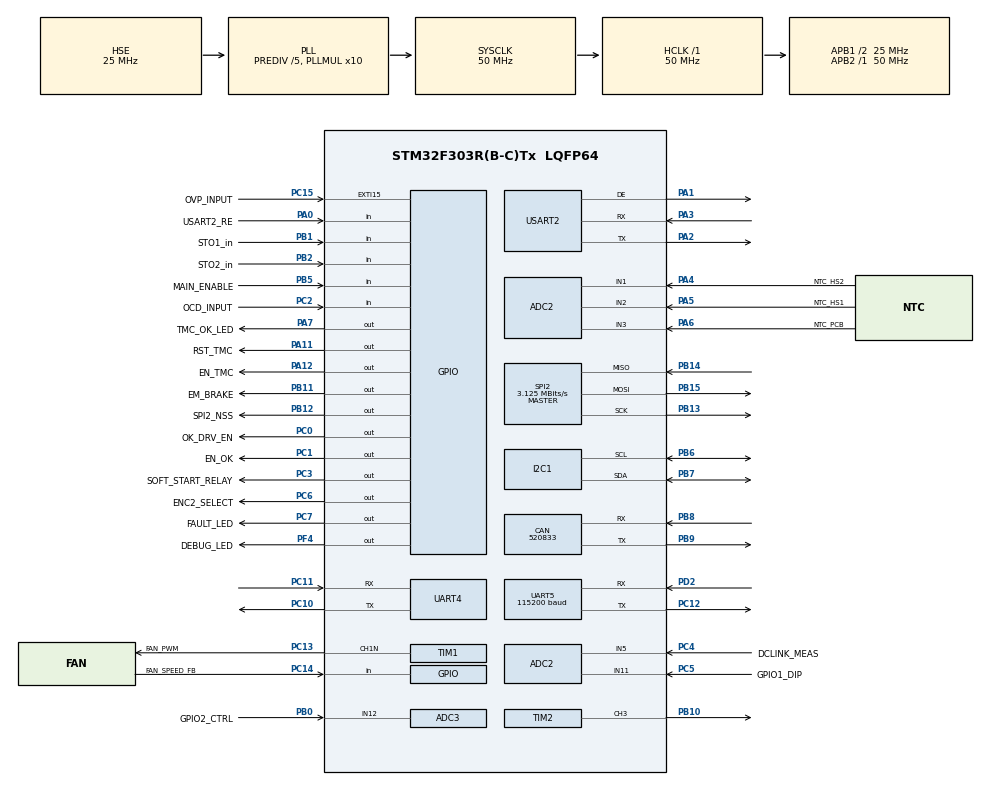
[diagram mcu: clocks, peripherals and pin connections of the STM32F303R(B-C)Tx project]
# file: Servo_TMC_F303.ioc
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ADC1.Channel-0\#ChannelRegularConversion=ADC_CHANNEL_TEMPSENSOR
ADC1.NbrOfConversionFlag=1
ADC1.Offset-0\#ChannelRegularConversion=0
ADC1.OffsetNumber-0\#ChannelRegularConversion=ADC_OFFSET_NONE
ADC1.Rank-0\#ChannelRegularConversion=1
ADC1.SamplingTime-0\#ChannelRegularConversion=ADC_SAMPLETIME_1CYCLE_5
ADC1.master=1
ADC2.Channel-2\#ChannelRegularConversion=ADC_CHANNEL_1
ADC2.ClockPrescaler=ADC_CLOCK_ASYNC_DIV1
ADC2.ContinuousConvMode=DISABLE
ADC2.DataAlign=ADC_DATAALIGN_RIGHT
ADC2.EnableInjectedConversion=DISABLE
ADC2.EnableRegularConversion=ENABLE
ADC2.NbrOfConversion=1
ADC2.NbrOfConversionFlag=1
ADC2.Offset-2\#ChannelRegularConversion=0
ADC2.OffsetNumber-2\#ChannelRegularConversion=ADC_OFFSET_NONE
ADC2.Overrun=ADC_OVR_DATA_OVERWRITTEN
ADC2.Rank-2\#ChannelRegularConversion=1
ADC2.SamplingTime-2\#ChannelRegularConversion=ADC_SAMPLETIME_19CYCLES_5
ADC2.SamplingTimeOPAMP-2\#ChannelRegularConversion=ADC_SAMPLETIME_61CYCLES_5
ADC2.SequencerNbRanks=1
ADC3.Channel-0\#ChannelRegularConversion=ADC_CHANNEL_12
ADC3.NbrOfConversionFlag=1
ADC3.Offset-0\#ChannelRegularConversion=0
ADC3.OffsetNumber-0\#ChannelRegularConversion=ADC_OFFSET_NONE
ADC3.Rank-0\#ChannelRegularConversion=1
ADC3.SamplingTime-0\#ChannelRegularConversion=ADC_SAMPLETIME_1CYCLE_5
ADC3.SamplingTimeOPAMP-0\#ChannelRegularConversion=ADC_SAMPLETIME_61CYCLES_5
ADC3.master=1
CAN.BS1=CAN_BS1_1TQ
CAN.BS2=CAN_BS2_1TQ
CAN.CalculateBaudRate=520833
CAN.CalculateTimeBit=1920
CAN.CalculateTimeQuantum=640.0
Mcu.Family=STM32F3
Mcu.Name=STM32F303R(B-C)Tx
Mcu.Package=LQFP64
NVIC.PriorityGroup=NVIC_PRIORITYGROUP_4
NVIC.TIM1_CC_IRQn=true\:0\:0\:false\:false\:true\:true\:true\:true
NVIC.UART5_IRQn=true\:0\:0\:false\:false\:true\:true\:true\:true
PA0.GPIO_Label=USART2_RE
PA0.Signal=GPIO_Input
PA1.Mode=Hardware Flow Control (RS485)
PA1.Signal=USART2_DE
PA11.GPIO_Label=RST_TMC
PA11.Signal=GPIO_Output
PA12.GPIO_Label=EN_TMC
PA12.Signal=GPIO_Output
PA13.Mode=Serial_Wire
PA13.Signal=SYS_JTMS-SWDIO
PA14.Mode=Serial_Wire
PA14.Signal=SYS_JTCK-SWCLK
PA2.Mode=Asynchronous
PA2.Signal=USART2_TX
PA3.Mode=Asynchronous
PA3.Signal=USART2_RX
PA4.GPIO_Label=NTC_HS2
PA4.Mode=IN1-Single-Ended
PA4.Signal=ADC2_IN1
PA5.GPIO_Label=NTC_HS1
PA5.Mode=IN2-Single-Ended
PA5.Signal=ADC2_IN2
PA6.GPIO_Label=NTC_PCB
PA6.Mode=IN3-Single-Ended
PA6.Signal=ADC2_IN3
PA7.GPIO_Label=TMC_OK_LED
PA7.Signal=GPIO_Output
PB0.GPIO_Label=GPIO2_CTRL
PB0.Mode=IN12-Single-Ended
PB0.Signal=ADC3_IN12
PB1.GPIO_Label=STO1_in
PB1.Signal=GPIO_Input
PB10.Signal=S_TIM2_CH3
PB11.GPIO_Label=EM_BRAKE
PB11.Signal=GPIO_Output
PB12.GPIO_Label=SPI2_NSS
PB12.GPIO_PuPd=GPIO_PULLUP
PB12.GPIO_Speed=GPIO_SPEED_FREQ_HIGH
PB12.PinState=GPIO_PIN_SET
PB12.Signal=GPIO_Output
PB13.Mode=Full_Duplex_Master
PB13.Signal=SPI2_SCK
PB14.Mode=Full_Duplex_Master
PB14.Signal=SPI2_MISO
PB15.Mode=Full_Duplex_Master
PB15.Signal=SPI2_MOSI
PB2.GPIO_Label=STO2_in
PB2.Signal=GPIO_Input
PB5.GPIO_Label=MAIN_ENABLE
PB5.Signal=GPIO_Input
PB6.Mode=I2C
PB6.Signal=I2C1_SCL
PB7.Mode=I2C
PB7.Signal=I2C1_SDA
PB8.Mode=CAN_Activate
PB8.Signal=CAN_RX
PB9.Mode=CAN_Activate
PB9.Signal=CAN_TX
PC0.GPIO_Label=OK_DRV_EN
PC0.GPIO_ModeDefaultOutputPP=GPIO_MODE_OUTPUT_OD
PC0.GPIO_PuPd=GPIO_NOPULL
PC0.PinState=GPIO_PIN_SET
PC0.Signal=GPIO_Output
PC1.GPIO_Label=EN_OK
PC1.Signal=GPIO_Output
PC10.Mode=Asynchronous
PC10.Signal=UART4_TX
PC11.Mode=Asynchronous
PC11.Signal=UART4_RX
PC12.Mode=Asynchronous
PC12.Signal=UART5_TX
PC13.GPIO_Label=FAN_PWM
PC13.Mode=PWM Generation1 CH1N
PC13.Signal=TIM1_CH1N
PC14-OSC32_IN.GPIO_Label=FAN_SPEED_FB
PC14-OSC32_IN.Signal=GPIO_Input
PC15-OSC32_OUT.GPIO_Label=OVP_INPUT
PC15-OSC32_OUT.Signal=GPXTI15
PC2.GPIO_Label=OCD_INPUT
PC2.Signal=GPIO_Input
PC3.GPIO_Label=SOFT_START_RELAY
PC3.GPIO_ModeDefaultOutputPP=GPIO_MODE_OUTPUT_OD
PC3.GPIO_PuPd=GPIO_PULLUP
PC3.PinState=GPIO_PIN_SET
PC3.Signal=GPIO_Output
PC4.GPIO_Label=DCLINK_MEAS
PC4.Mode=IN5-Single-Ended
PC4.Signal=ADC2_IN5
PC5.GPIO_Label=GPIO1_DIP
PC5.Mode=IN11-Single-Ended
PC5.Signal=ADC2_IN11
PC6.GPIO_Label=ENC2_SELECT
PC6.Signal=GPIO_Output
PC7.GPIO_Label=FAULT_LED
PC7.Signal=GPIO_Output
PD2.Mode=Asynchronous
PD2.Signal=UART5_RX
PF0-OSC_IN.Mode=HSE-External-Clock-Source
PF0-OSC_IN.Signal=RCC_OSC_IN
PF4.GPIO_Label=DEBUG_LED
PF4.Signal=GPIO_Output
ProjectManager.HeapSize=0x200
ProjectManager.StackSize=0x400
ProjectManager.TargetToolchain=STM32CubeIDE
RCC.AHBFreq_Value=50000000
RCC.APB1CLKDivider=RCC_HCLK_DIV2
RCC.APB1Freq_Value=25000000
RCC.APB1TimFreq_Value=50000000
RCC.APB2Freq_Value=50000000
RCC.APB2TimFreq_Value=50000000
RCC.CortexFreq_Value=50000000
RCC.HCLKFreq_Value=50000000
RCC.HSE_VALUE=25000000
RCC.HSI_VALUE=8000000
RCC.LSE_VALUE=32768
RCC.PLLMUL=RCC_PLL_MUL10
RCC.PLLSourceVirtual=RCC_PLLSOURCE_HSE
RCC.RCC_PLLsource_Clock_Source_FROM_HSE=RCC_HSE_PREDIV_DIV5
RCC.SYSCLKFreq_VALUE=50000000
RCC.SYSCLKSourceVirtual=RCC_SYSCLKSOURCE_PLLCLK
RCC.USBFreq_Value=50000000
SH.S_TIM2_CH3.0=TIM2_CH3,PWM Generation3 CH3
SPI2.BaudRatePrescaler=SPI_BAUDRATEPRESCALER_8
SPI2.CLKPhase=SPI_PHASE_2EDGE
SPI2.CLKPolarity=SPI_POLARITY_HIGH
SPI2.CalculateBaudRate=3.125 MBits/s
SPI2.DataSize=SPI_DATASIZE_8BIT
SPI2.Direction=SPI_DIRECTION_2LINES
SPI2.Mode=SPI_MODE_MASTER
SPI2.VirtualType=VM_MASTER
TIM1.Channel-PWM\ Generation1\ CH1N=TIM_CHANNEL_1
TIM1.Period=1000-1
TIM1.Prescaler=50-1
TIM2.Channel-PWM\ Generation3\ CH3=TIM_CHANNEL_3
TIM2.Period=1000-1
TIM2.Prescaler=50-1
UART5.BaudRate=115200
USART2.VirtualMode-Asynchronous=VM_ASYNC
USART2.VirtualMode-Hardware\ Flow\ Control\ (RS485)=VM_ASYNC
VP_ADC1_TempSens_Input.Mode=IN-TempSens
VP_ADC1_Vref_Input.Mode=IN-Vrefint
board=custom

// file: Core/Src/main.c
/* USER CODE BEGIN Header */
/**
 ******************************************************************************
 * @file           : main.c
 * @brief          : Main program body
 ******************************************************************************
 * @attention
 *
 * Copyright (c) 2022 STMicroelectronics.
 * All rights reserved.
 *
 * This software is licensed under terms that can be found in the LICENSE file
 * in the root directory of this software component.
 * If no LICENSE file comes with this software, it is provided AS-IS.
 *
 ******************************************************************************
 */
/* USER CODE END Header */
#include "main.h"
#include "adc.h"
#include "can.h"
#include "i2c.h"
#include "spi.h"
#include "tim.h"
#include "usart.h"
#include "gpio.h"
#include "NTC_sensors.h"

/* USER CODE BEGIN Includes */
#include "tmc/ic/TMC4671/TMC4671.h"
#include "modbus/mb.h"
/* USER CODE END Includes */

/* USER CODE BEGIN PV */
uint32_t Raw_ADC_temp[5] = {0};
uint32_t HS1temp_raw = 0;
int32_t HS1temp = 0;

/* USER CODE END PV */

void SystemClock_Config(void);
/* USER CODE BEGIN PFP */
void StartupConfig(void);
void ABN_encoder_test_drive(uint32_t);
void Exp_speed_ramp(void);
void openloop_test_drive(uint32_t);
/* USER CODE END PFP */

int main(void)
{

  /* MCU Configuration--------------------------------------------------------*/

  /* Reset of all peripherals, Initializes the Flash interface and the Systick. */
  HAL_Init();

  /* Configure the system clock */
  SystemClock_Config();

  /* Initialize all configured peripherals */
  MX_GPIO_Init();
  MX_CAN_Init();
  MX_UART4_Init();
  MX_UART5_Init();
  MX_I2C1_Init();
  MX_SPI2_Init();
  MX_USART2_UART_Init();
  MX_ADC2_Init();
  MX_TIM1_Init();
  MX_ADC3_Init();
  MX_TIM2_Init();
  MX_ADC1_Init();
  /* USER CODE BEGIN 2 */

	const uint32_t chTab[5] = { ADC_CHANNEL_1, ADC_CHANNEL_2, ADC_CHANNEL_3, ADC_CHANNEL_5, ADC_CHANNEL_11 };
	ADC_ChannelConfTypeDef sConfig = { 0 };
	sConfig.Rank = ADC_REGULAR_RANK_1;
	sConfig.SingleDiff = ADC_SINGLE_ENDED;

	HAL_ADCEx_Calibration_Start(&hadc2, ADC_SINGLE_ENDED);
	HAL_ADCEx_Calibration_Start(&hadc3, ADC_SINGLE_ENDED);

	ModBus_Init();
	StartupConfig();
	//openloop_test_drive(4800);
	//HAL_Delay(1000);
	//ABN_encoder_test_drive(4800);

  /* USER CODE END 2 */

  /* Infinite loop */
  /* USER CODE BEGIN WHILE */

	uint32_t timeFor1000msTask = 0;
	uint32_t timeFor100msTask = 0;
	uint32_t timeFor10msTask = HAL_GetTick();

	while (1) {

		// task 10ms
		if (HAL_GetTick() - timeFor10msTask >= 10) {
			timeFor10msTask = HAL_GetTick();
			timeFor100msTask+=1;
		}

		// task 100ms
		if (timeFor100msTask >= 10) {
			timeFor100msTask=0;
			timeFor1000msTask+=1;
			HAL_GPIO_TogglePin(DEBUG_LED_GPIO_Port, DEBUG_LED_Pin);

		}
		// task 1000ms
		if (timeFor1000msTask >= 10) {
			timeFor1000msTask = 0;

			for (uint32 i = 0; i < 5; i++) {
				// assign channel number here
				sConfig.Channel = chTab[i];
				// later use array to have different sample time for each channel
				sConfig.SamplingTime = ADC_SAMPLETIME_19CYCLES_5;
				if (HAL_ADC_ConfigChannel(&hadc2, &sConfig) != HAL_OK) {
					Error_Handler();
				}
				HAL_ADC_Start(&hadc2);
				HAL_ADC_PollForConversion(&hadc2, HAL_MAX_DELAY);
				Raw_ADC_temp[i] = HAL_ADC_GetValue(&hadc2);
				HAL_ADC_Stop(&hadc2);
			}
			HAL_GPIO_TogglePin(FAULT_LED_GPIO_Port, FAULT_LED_Pin);
			HS1temp_raw = Raw_ADC_temp[1];
			if (HS1temp_raw < 596)
			{
				HS1temp_raw = 596;
			}
			HS1temp = NTC_table_TME[(HS1temp_raw - 595)/16];
		}
    /* USER CODE END WHILE */

    /* USER CODE BEGIN 3 */

		ModBus_Perform();

	}
  /* USER CODE END 3 */
}

void SystemClock_Config(void)
{
  RCC_OscInitTypeDef RCC_OscInitStruct = {0};
  RCC_ClkInitTypeDef RCC_ClkInitStruct = {0};
  RCC_PeriphCLKInitTypeDef PeriphClkInit = {0};

  /** Initializes the RCC Oscillators according to the specified parameters
  * in the RCC_OscInitTypeDef structure.
  */
  RCC_OscInitStruct.OscillatorType = RCC_OSCILLATORTYPE_HSI|RCC_OSCILLATORTYPE_HSE;
  RCC_OscInitStruct.HSEState = RCC_HSE_BYPASS;
  RCC_OscInitStruct.HSEPredivValue = RCC_HSE_PREDIV_DIV5;
  RCC_OscInitStruct.HSIState = RCC_HSI_ON;
  RCC_OscInitStruct.HSICalibrationValue = RCC_HSICALIBRATION_DEFAULT;
  RCC_OscInitStruct.PLL.PLLState = RCC_PLL_ON;
  RCC_OscInitStruct.PLL.PLLSource = RCC_PLLSOURCE_HSE;
  RCC_OscInitStruct.PLL.PLLMUL = RCC_PLL_MUL10;
  if (HAL_RCC_OscConfig(&RCC_OscInitStruct) != HAL_OK)
  {
    Error_Handler();
  }

  /** Initializes the CPU, AHB and APB buses clocks
  */
  RCC_ClkInitStruct.ClockType = RCC_CLOCKTYPE_HCLK|RCC_CLOCKTYPE_SYSCLK
                              |RCC_CLOCKTYPE_PCLK1|RCC_CLOCKTYPE_PCLK2;
  RCC_ClkInitStruct.SYSCLKSource = RCC_SYSCLKSOURCE_PLLCLK;
  RCC_ClkInitStruct.AHBCLKDivider = RCC_SYSCLK_DIV1;
  RCC_ClkInitStruct.APB1CLKDivider = RCC_HCLK_DIV2;
  RCC_ClkInitStruct.APB2CLKDivider = RCC_HCLK_DIV1;

  if (HAL_RCC_ClockConfig(&RCC_ClkInitStruct, FLASH_LATENCY_2) != HAL_OK)
  {
    Error_Handler();
  }
  PeriphClkInit.PeriphClockSelection = RCC_PERIPHCLK_USART2|RCC_PERIPHCLK_UART4
                              |RCC_PERIPHCLK_UART5|RCC_PERIPHCLK_I2C1
                              |RCC_PERIPHCLK_TIM1|RCC_PERIPHCLK_ADC12
                              |RCC_PERIPHCLK_ADC34;
  PeriphClkInit.Usart2ClockSelection = RCC_USART2CLKSOURCE_PCLK1;
  PeriphClkInit.Uart4ClockSelection = RCC_UART4CLKSOURCE_PCLK1;
  PeriphClkInit.Uart5ClockSelection = RCC_UART5CLKSOURCE_PCLK1;
  PeriphClkInit.Adc12ClockSelection = RCC_ADC12PLLCLK_DIV1;
  PeriphClkInit.Adc34ClockSelection = RCC_ADC34PLLCLK_DIV1;
  PeriphClkInit.I2c1ClockSelection = RCC_I2C1CLKSOURCE_HSI;
  PeriphClkInit.Tim1ClockSelection = RCC_TIM1CLK_HCLK;
  if (HAL_RCCEx_PeriphCLKConfig(&PeriphClkInit) != HAL_OK)
  {
    Error_Handler();
  }
}

/* USER CODE BEGIN 4 */
void StartupConfig() {

	HAL_GPIO_WritePin(GPIOA, TMC_OK_LED_Pin, GPIO_PIN_SET); 					//LED
	HAL_GPIO_WritePin(GPIOC, FAULT_LED_Pin, GPIO_PIN_SET);  					//LED
	HAL_GPIO_WritePin(DEBUG_LED_GPIO_Port, DEBUG_LED_Pin, GPIO_PIN_SET); 		//LED
	HAL_Delay(2000);
	HAL_GPIO_WritePin(GPIOC, SOFT_START_RELAY_Pin, GPIO_PIN_RESET);				//Short the relay contacts
	HAL_GPIO_WritePin(GPIOA, RST_TMC_Pin, GPIO_PIN_SET);						//Exit  TMC4671 RESET state
	HAL_GPIO_WritePin(GPIOA, EN_TMC_Pin, GPIO_PIN_SET);							//Enable TMC4671
	HAL_GPIO_WritePin(GPIOC, EN_OK_Pin, GPIO_PIN_RESET); 						//low - Gate drivers enabled
	HAL_GPIO_WritePin(GPIOC, OK_DRV_EN_Pin, GPIO_PIN_RESET); 					//low - 74AC541, optocoupler driver enabled

	//================================================================================
	//Prototype motor init and movement START
	//================================================================================

	// Motor type &  PWM configuration
	tmc4671_setMotorType(0, TMC4671_THREE_PHASE_BLDC); //BLDC
	tmc4671_writeInt(0, TMC4671_MOTOR_TYPE_N_POLE_PAIRS, 0x00030004); 		//4 pole pairs
	tmc4671_writeInt(0, TMC4671_PWM_POLARITIES, 0x00000000);				//low and low
	tmc4671_writeInt(0, TMC4671_PWM_MAXCNT, 0x00000F9F);					//3990 for 25kHz
	tmc4671_writeInt(0, TMC4671_PWM_BBM_H_BBM_L, 0x00005050);				//80 for 800ns; first two digits for Low, second two for High deadtime
	tmc4671_writeInt(0, TMC4671_PHI_E_SELECTION, 0x00000003);				//3 for ABN encoder
	//tmc4671_writeInt(0, TMC4671_PWM_SV_CHOP, 0x00000007);					//FOC PWM Enabled with SVM disabled; 0x00000107 for SVM

	// ADC configuration
	tmc4671_writeInt(0, TMC4671_ADC_I_SELECT, 0x24000100);
	tmc4671_writeInt(0, TMC4671_dsADC_MCFG_B_MCFG_A, 0x00100010);
	tmc4671_writeInt(0, TMC4671_dsADC_MCLK_A, 0x20000000);
	tmc4671_writeInt(0, TMC4671_dsADC_MCLK_B, 0x20000000);
	tmc4671_writeInt(0, TMC4671_dsADC_MDEC_B_MDEC_A, 0x014E014E);
	tmc4671_writeInt(0, TMC4671_ADC_I0_SCALE_OFFSET, 0x0100817E);
	tmc4671_writeInt(0, TMC4671_ADC_I1_SCALE_OFFSET, 0x0100817E);
	// ABN encoder settings
	tmc4671_writeInt(0, TMC4671_ABN_DECODER_MODE, 0x00000000);
	tmc4671_writeInt(0, TMC4671_ABN_DECODER_PPR, 0x00002000);					//8192 ppr
	tmc4671_writeInt(0, TMC4671_ABN_DECODER_COUNT, 0x00001CA8);
	tmc4671_writeInt(0, TMC4671_ABN_DECODER_PHI_E_PHI_M_OFFSET, 0x000003E8);
	// Limits
	tmc4671_writeInt(0, TMC4671_PID_TORQUE_FLUX_LIMITS, 8000);
	//set PI constants
	tmc4671_setTorqueFluxPI(0, 700, 20);
	tmc4671_setVelocityPI(0, 15000, 20000);
	tmc4671_setPositionPI(0, 80, 4);

	//reset encoder position
	//tmc4671_setActualPosition(0, 0);
	//HAL_GPIO_WritePin(GPIOA, TMC_OK_LED_Pin, GPIO_PIN_SET);
	//HAL_GPIO_WritePin(GPIOC, FAULT_LED_Pin, GPIO_PIN_SET);
	//HAL_GPIO_WritePin(GPIOF, DEBUG_LED_Pin, GPIO_PIN_SET);
	//start new testing procedure
}

void openloop_test_drive(uint32_t UQ_UD_target)
	{
	// Open loop settings
	tmc4671_writeInt(0, TMC4671_PWM_SV_CHOP, 0x00000007);
	tmc4671_writeInt(0, TMC4671_OPENLOOP_MODE, 0x00000000);
	tmc4671_writeInt(0, TMC4671_OPENLOOP_ACCELERATION, 0x0000003C);
	tmc4671_writeInt(0, TMC4671_OPENLOOP_VELOCITY_TARGET, 0x0000001E);
	// Feedback selection
	tmc4671_writeInt(0, TMC4671_PHI_E_SELECTION, 0x00000002);
	tmc4671_writeInt(0, TMC4671_UQ_UD_EXT, UQ_UD_target);
	// ===== Open loop test drive =====
	// Switch to open loop velocity mode
	tmc4671_writeInt(0, TMC4671_MODE_RAMP_MODE_MOTION, 0x00000008);
	// Rotate right
	tmc4671_writeInt(0, TMC4671_OPENLOOP_VELOCITY_TARGET, 0x0000003C);
	HAL_Delay(1000);
	// Rotate left
	tmc4671_writeInt(0, TMC4671_OPENLOOP_VELOCITY_TARGET, 0xFFFFFFC4);
	HAL_Delay(2000);
	// Stop
	tmc4671_writeInt(0, TMC4671_OPENLOOP_VELOCITY_TARGET, 0x00000000);
	HAL_Delay(1000);
	tmc4671_writeInt(0, TMC4671_UQ_UD_EXT, 0x00000000);
	}

void ABN_encoder_test_drive(uint32_t UQ_UD_target)
{
	// ===== ABN encoder test drive =====
	 // Init encoder (mode 0)
	 tmc4671_writeInt(0, TMC4671_PWM_SV_CHOP, 0x00000007);
	 tmc4671_writeInt(0, TMC4671_MODE_RAMP_MODE_MOTION, 0x00000008);			//open loop velocity mode
	 tmc4671_writeInt(0, TMC4671_ABN_DECODER_PHI_E_PHI_M_OFFSET, 0x00000000);	//reset the offset
	 tmc4671_writeInt(0, TMC4671_PHI_E_SELECTION, 0x00000001);					//phi_e_ext - open loop
	 tmc4671_writeInt(0, TMC4671_PHI_E_EXT, 0x00000000);
	 tmc4671_writeInt(0, TMC4671_UQ_UD_EXT, UQ_UD_target);
	 HAL_Delay(2000);
	 HAL_GPIO_WritePin(GPIOA, TMC_OK_LED_Pin, GPIO_PIN_RESET);
	 tmc4671_writeInt(0, TMC4671_ABN_DECODER_COUNT, 0x00000000);
	 tmc4671_writeInt(0, TMC4671_PHI_E_SELECTION, 0x00000003);						//Feedback selection phi_e_abn - use ABN encoder for electrical phase
	 tmc4671_writeInt(0, TMC4671_VELOCITY_SELECTION, 0x00000009);
	 tmc4671_writeInt(0, TMC4671_MODE_RAMP_MODE_MOTION, 0x00000002);				// Switch to velocity mode
/*
	 tmc4671_setTargetVelocity(0, 200);												//Rotate right
	 HAL_Delay(2000);
	 tmc4671_setTargetVelocity(0, 0);
	 HAL_Delay(1000);
	 tmc4671_setTargetVelocity(0, -200);											//Rotate left
	 HAL_Delay(2000);
	 tmc4671_setTargetVelocity(0, 0);												// Stop
*/
}

void Exp_speed_ramp()
{
	//velocity mode test drive - crude speed ramp - TO BE TESTED
	 tmc4671_setTorqueFluxLimit_mA(0, 256, 80*141);								//8A * sqrt(2)
	 tmc4671_writeInt(0, TMC4671_VELOCITY_SELECTION, 0x00000009);				//mechanical velocity selection, standard mode
	 tmc4671_setTargetVelocity(0, 100);
	 HAL_Delay(200);
	 tmc4671_setTargetVelocity(0, 250);
	 HAL_Delay(200);
	 tmc4671_setTargetVelocity(0, 500);
	 HAL_Delay(200);
	 tmc4671_setTargetVelocity(0, 750);
	 HAL_Delay(200);
	 tmc4671_setTargetVelocity(0, 1000);
	 HAL_Delay(5000);
	 tmc4671_setTargetVelocity(0, 750);
	 HAL_Delay(200);
	 tmc4671_setTargetVelocity(0, 500);
	 HAL_Delay(200);
	 tmc4671_setTargetVelocity(0, 250);
	 HAL_Delay(200);
	 tmc4671_setTargetVelocity(0, 0);
	 HAL_Delay(200);
}

/* USER CODE END 4 */

void Error_Handler(void)
{
	__disable_irq();
	while (1) {
	}
}
